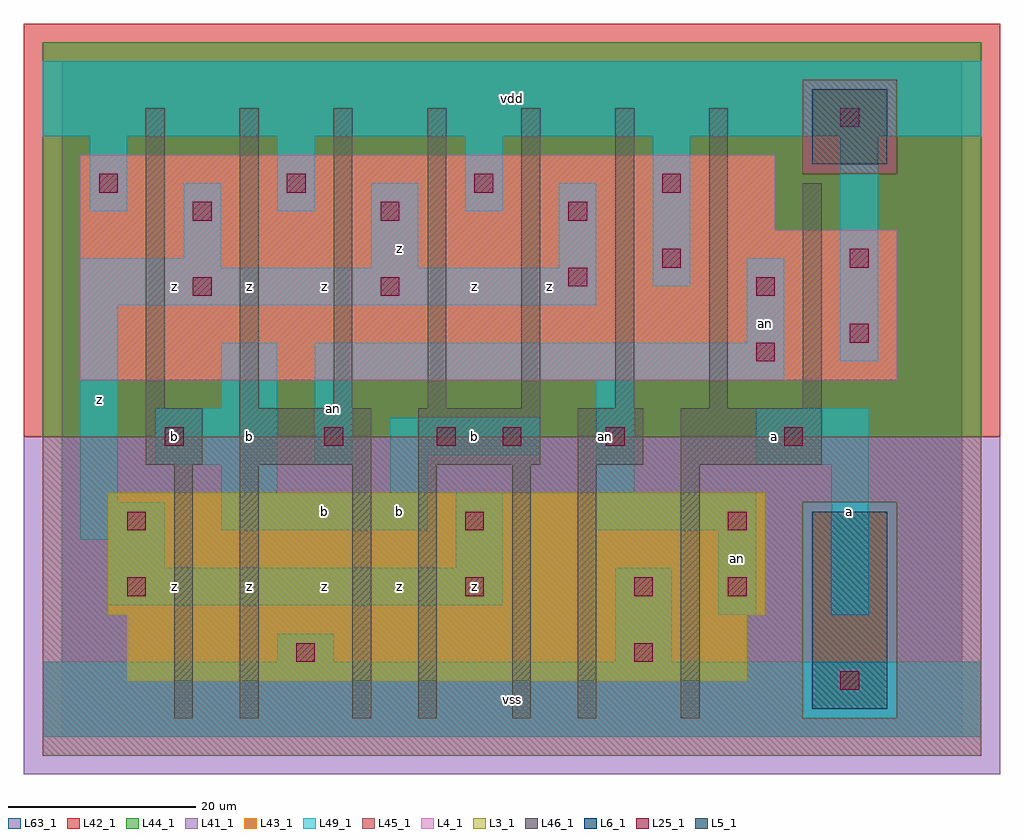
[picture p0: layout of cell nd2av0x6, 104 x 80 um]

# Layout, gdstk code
import gdstk
lib = gdstk.Library(unit=1e-6, precision=1e-09)
def R(c, l, rs):  # rectangles x0, y0, x1, y1
    for r in rs: c.add(gdstk.rectangle(r[:2], r[2:], *l))
def A(c, l, x, y, w, h, nx, ny, dx, dy):  # array of equal rectangles
    R(c, l, [(x+i*dx, y+j*dy, x+i*dx+w, y+j*dy+h) for i in range(nx) for j in range(ny)])
L3_1 = (3, 1)
L4_1 = (4, 1)
L5_1 = (5, 1)
L6_1 = (6, 1)
L25_1 = (25, 1)
L41_1 = (41, 1)
L42_1 = (42, 1)
L43_1 = (43, 1)
L44_1 = (44, 1)
L45_1 = (45, 1)
L46_1 = (46, 1)
L49_1 = (49, 1)
L63_1 = (63, 1)

nd2av0x6 = lib.new_cell('nd2av0x6')
R(nd2av0x6, L3_1, [(7,6,73,13), (5,13,75,26)])
R(nd2av0x6, L4_1, [(2,38,89,54), (2,54,76,62)])
R(nd2av0x6, L5_1, [(80,61,88,69)])
R(nd2av0x6, L6_1, [(80,3,88,24), (80,3,88,24)])
A(nd2av0x6, L25_1, 14, 55, 2, 2, 3, 1, 20, 0)
A(nd2av0x6, L25_1, 4, 58, 2, 2, 4, 1, 20, 0)
R(nd2av0x6, L25_1, [(83,5,85,7), (25,8,27,10), (61,8,63,10), (7,15,9,17), (43,15,45,17), (61,15,63,17), (71,15,73,17), (7,22,9,24), (43,22,45,24), (71,22,73,24), (11,31,13,33), (28,31,30,33), (40,31,42,33), (47,31,49,33), (58,31,60,33), (77,31,79,33), (74,40,76,42), (84,42,86,44), (14,47,16,49), (34,47,36,49), (74,47,76,49), (54,48,56,50), (64,50,66,52), (84,50,86,52), (83,65,85,67)])
R(nd2av0x6, L41_1, [(-4,-4,100,32)])
R(nd2av0x6, L42_1, [(-4,32,100,76)])
R(nd2av0x6, L43_1, [(80,3,88,24), (7,6,73,13), (5,13,75,26), (2,38,89,54), (2,54,76,62), (80,61,88,69)])
R(nd2av0x6, L44_1, [(79,2,89,25), (-2,32,98,60), (-2,60,79,70), (89,60,98,70), (-2,70,98,74)])
R(nd2av0x6, L45_1, [(-2,-2,98,2), (-2,2,79,25), (89,2,98,25), (-2,25,98,32), (79,60,89,70)])
A(nd2av0x6, L46_1, 9, 35, 2, 32, 7, 1, 10, 0)
R(nd2av0x6, L46_1, [(12,2,14,29), (19,2,21,29), (31,2,33,29), (38,2,40,29), (48,2,50,29), (55,2,57,29), (66,2,68,29), (9,29,15,35), (19,29,33,35), (38,29,51,35), (55,29,62,35), (66,29,81,35), (79,35,81,59)])
A(nd2av0x6, L49_1, 3, 56, 4, 8, 3, 1, 20, 0)
R(nd2av0x6, L49_1, [(-2,0,98,8), (23,8,29,11), (59,8,65,18), (70,13,74,22), (82,13,86,29), (5,14,47,18), (5,18,11,21), (42,18,47,26), (2,21,11,25), (17,22,39,26), (57,22,74,26), (2,25,6,46), (17,26,23,29), (35,26,39,30), (57,26,61,38), (10,29,23,35), (27,29,31,38), (74,29,86,35), (35,30,51,34), (17,35,23,42), (27,38,77,42), (83,40,87,64), (73,42,77,51), (2,46,57,50), (63,48,67,64), (2,50,17,51), (33,50,38,59), (53,50,57,59), (13,51,17,59), (-2,64,98,72)])
R(nd2av0x6, L63_1, [(0,0,96,72)])
nd2av0x6.add(gdstk.Label('an', (58,32), layer=49, texttype=1))
nd2av0x6.add(gdstk.Label('z', (12,16), layer=49, texttype=1))
nd2av0x6.add(gdstk.Label('b', (12,32), layer=49, texttype=1))
nd2av0x6.add(gdstk.Label('z', (4,36), layer=49, texttype=1))
nd2av0x6.add(gdstk.Label('z', (12,48), layer=49, texttype=1))
nd2av0x6.add(gdstk.Label('z', (28,16), layer=49, texttype=1))
nd2av0x6.add(gdstk.Label('z', (20,16), layer=49, texttype=1))
nd2av0x6.add(gdstk.Label('b', (28,24), layer=49, texttype=1))
nd2av0x6.add(gdstk.Label('an', (29,35), layer=49, texttype=1))
nd2av0x6.add(gdstk.Label('b', (20,32), layer=49, texttype=1))
nd2av0x6.add(gdstk.Label('z', (20,48), layer=49, texttype=1))
nd2av0x6.add(gdstk.Label('z', (28,48), layer=49, texttype=1))
nd2av0x6.add(gdstk.Label('vss', (48,4), layer=49, texttype=1))
nd2av0x6.add(gdstk.Label('z', (44,16), layer=49, texttype=1))
nd2av0x6.add(gdstk.Label('z', (36,16), layer=49, texttype=1))
nd2av0x6.add(gdstk.Label('b', (36,24), layer=49, texttype=1))
nd2av0x6.add(gdstk.Label('b', (44,32), layer=49, texttype=1))
nd2av0x6.add(gdstk.Label('z', (36,52), layer=49, texttype=1))
nd2av0x6.add(gdstk.Label('z', (44,48), layer=49, texttype=1))
nd2av0x6.add(gdstk.Label('z', (52,48), layer=49, texttype=1))
nd2av0x6.add(gdstk.Label('vdd', (48,68), layer=49, texttype=1))
nd2av0x6.add(gdstk.Label('an', (72,19), layer=49, texttype=1))
nd2av0x6.add(gdstk.Label('a', (76,32), layer=49, texttype=1))
nd2av0x6.add(gdstk.Label('an', (59,32), layer=49, texttype=1))
nd2av0x6.add(gdstk.Label('an', (75,44), layer=49, texttype=1))
nd2av0x6.add(gdstk.Label('a', (84,24), layer=49, texttype=1))

lib.write_gds('nd2av0x6.gds')
